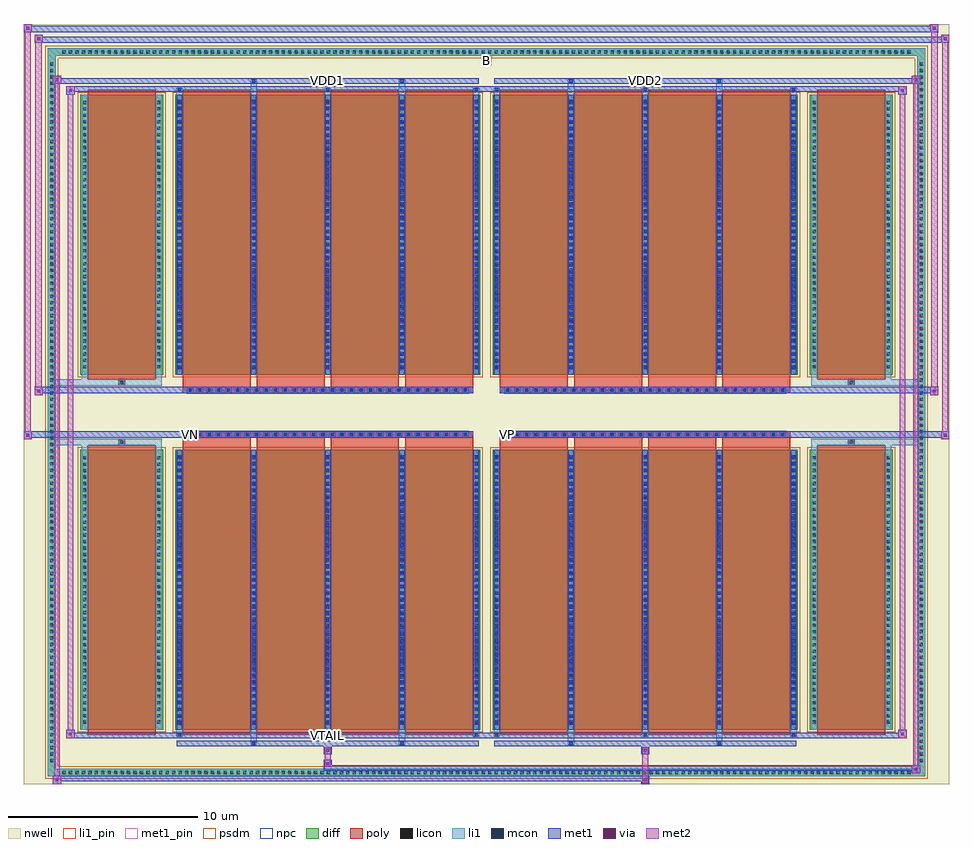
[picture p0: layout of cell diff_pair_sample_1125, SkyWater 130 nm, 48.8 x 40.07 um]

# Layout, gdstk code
import gdstk
lib = gdstk.Library(unit=1e-6, precision=5e-09)
def R(c, l, rs):  # rectangles x0, y0, x1, y1
    for r in rs: c.add(gdstk.rectangle(r[:2], r[2:], *l))
def A(c, l, x, y, w, h, nx, ny, dx, dy):  # array of equal rectangles
    R(c, l, [(x+i*dx, y+j*dy, x+i*dx+w, y+j*dy+h) for i in range(nx) for j in range(ny)])
def P(c, l, *ps):  # polygons
    for p in ps: c.add(gdstk.Polygon(p, *l))
nwell = (64, 20)
diff = (65, 20)
poly = (66, 20)
licon = (66, 44)
li1_pin = (67, 16)
li1 = (67, 20)
mcon = (67, 44)
met1_pin = (68, 16)
met1 = (68, 20)
via = (68, 44)
met2 = (69, 20)
psdm = (94, 20)
npc = (95, 20)

diff_pair_sample_1125 = lib.new_cell('diff_pair_sample_1125')
R(diff_pair_sample_1125, nwell, [(-24.4,-19.6,24.4,20.47), (-21.72,-17.79,-0.01,-0.805), (0.01,-17.79,21.72,-0.805), (-21.72,0.805,-0.01,17.79), (0.01,0.805,21.72,17.79)])
A(diff_pair_sample_1125, diff, -22.475, -19.2, 0.41, 0.41, 132, 2, 0.34, 37.99)
A(diff_pair_sample_1125, diff, -23.13, -18.565, 0.41, 0.41, 1, 109, 0, 0.34)
A(diff_pair_sample_1125, diff, 22.72, -18.565, 0.41, 0.41, 1, 109, 0, 0.34)
R(diff_pair_sample_1125, diff, [(-22.475,-19.2,22.475,-18.79), (-23.13,-18.565,-22.72,18.565), (22.72,-18.565,23.13,18.565), (-21.41,-16.745,-17.05,-1.985), (-16.41,-16.745,-0.32,-1.985), (0.32,-16.745,16.41,-1.985), (17.05,-16.745,21.41,-1.985), (-21.41,1.985,-17.05,16.745), (-16.41,1.985,-0.32,16.745), (0.32,1.985,16.41,16.745), (17.05,1.985,21.41,16.745), (-22.475,18.79,22.475,19.2)])
P(diff_pair_sample_1125, diff, [(23.13,19.2),(-23.13,19.2),(-23.13,-18.79),(-22.72,-18.79),(-22.72,18.79),(22.72,18.79),(22.72,-18.79),(-22.72,-18.79),(-23.13,-18.79),(-23.13,-19.2),(23.13,-19.2)])
A(diff_pair_sample_1125, poly, -16.02, -16.995, 3.58, 15.26, 4, 2, 3.91, 18.73)
A(diff_pair_sample_1125, poly, 0.71, -16.995, 3.58, 15.26, 4, 2, 3.91, 18.73)
A(diff_pair_sample_1125, poly, -16.02, -1.735, 3.58, 0.4, 4, 2, 3.91, 3.07)
A(diff_pair_sample_1125, poly, 0.71, -1.735, 3.58, 0.4, 4, 2, 3.91, 3.07)
A(diff_pair_sample_1125, poly, -15.78, -1.335, 0.33, 0.33, 30, 2, 0.5, 2.34)
A(diff_pair_sample_1125, poly, 0.95, -1.335, 0.33, 0.33, 30, 2, 0.5, 2.34)
R(diff_pair_sample_1125, poly, [(-21.02,-16.995,-17.44,-1.735), (17.44,-16.995,21.02,-1.735), (-19.395,-1.735,-19.065,-1.405), (-19.395,-1.735,-19.065,-1.405), (19.065,-1.735,19.395,-1.405), (19.065,-1.735,19.395,-1.405), (-16.02,-1.335,-0.71,-1.005), (0.71,-1.335,16.02,-1.005), (-16.02,1.005,-0.71,1.335), (0.71,1.005,16.02,1.335), (-19.395,1.405,-19.065,1.735), (-19.395,1.405,-19.065,1.735), (19.065,1.405,19.395,1.735), (19.065,1.405,19.395,1.735), (-21.02,1.735,-17.44,16.995), (17.44,1.735,21.02,16.995)])
A(diff_pair_sample_1125, licon, -22.355, -19.08, 0.17, 0.17, 132, 2, 0.34, 37.99)
A(diff_pair_sample_1125, licon, -23.01, -18.445, 0.17, 0.17, 1, 109, 0, 0.34)
A(diff_pair_sample_1125, licon, 22.84, -18.445, 0.17, 0.17, 1, 109, 0, 0.34)
A(diff_pair_sample_1125, licon, -21.27, -16.42, 0.17, 0.17, 1, 42, 0, 0.34)
A(diff_pair_sample_1125, licon, -17.36, -16.42, 0.17, 0.17, 1, 42, 0, 0.34)
A(diff_pair_sample_1125, licon, -16.27, -16.42, 0.17, 0.17, 5, 42, 3.91, 0.34)
A(diff_pair_sample_1125, licon, 0.46, -16.42, 0.17, 0.17, 5, 42, 3.91, 0.34)
A(diff_pair_sample_1125, licon, 17.19, -16.42, 0.17, 0.17, 1, 42, 0, 0.34)
A(diff_pair_sample_1125, licon, 21.1, -16.42, 0.17, 0.17, 1, 42, 0, 0.34)
A(diff_pair_sample_1125, licon, -15.7, -1.255, 0.17, 0.17, 30, 2, 0.5, 2.34)
A(diff_pair_sample_1125, licon, 1.03, -1.255, 0.17, 0.17, 30, 2, 0.5, 2.34)
A(diff_pair_sample_1125, licon, -21.27, 2.31, 0.17, 0.17, 1, 42, 0, 0.34)
A(diff_pair_sample_1125, licon, -17.36, 2.31, 0.17, 0.17, 1, 42, 0, 0.34)
A(diff_pair_sample_1125, licon, -16.27, 2.31, 0.17, 0.17, 5, 42, 3.91, 0.34)
A(diff_pair_sample_1125, licon, 0.46, 2.31, 0.17, 0.17, 5, 42, 3.91, 0.34)
A(diff_pair_sample_1125, licon, 17.19, 2.31, 0.17, 0.17, 1, 42, 0, 0.34)
A(diff_pair_sample_1125, licon, 21.1, 2.31, 0.17, 0.17, 1, 42, 0, 0.34)
R(diff_pair_sample_1125, licon, [(-19.315,-1.655,-19.145,-1.485), (19.145,-1.655,19.315,-1.485), (-19.315,1.485,-19.145,1.655), (19.145,1.485,19.315,1.655)])
R(diff_pair_sample_1125, li1_pin, [(-0.25,18.29,0.25,18.79)])
A(diff_pair_sample_1125, li1, -22.435, -19.16, 0.33, 0.33, 132, 2, 0.34, 37.99)
A(diff_pair_sample_1125, li1, -23.09, -18.525, 0.33, 0.33, 1, 109, 0, 0.34)
A(diff_pair_sample_1125, li1, 22.76, -18.525, 0.33, 0.33, 1, 109, 0, 0.34)
A(diff_pair_sample_1125, li1, -16.35, -17.12, 0.33, 0.375, 3, 2, 7.82, 33.865)
A(diff_pair_sample_1125, li1, -16.27, -17.12, 0.17, 0.17, 3, 2, 7.82, 34.07)
A(diff_pair_sample_1125, li1, 0.38, -17.12, 0.33, 0.375, 3, 2, 7.82, 33.865)
A(diff_pair_sample_1125, li1, 0.46, -17.12, 0.17, 0.17, 3, 2, 7.82, 34.07)
A(diff_pair_sample_1125, li1, -16.35, -16.745, 0.33, 14.76, 5, 2, 3.91, 18.73)
A(diff_pair_sample_1125, li1, 0.38, -16.745, 0.33, 14.76, 5, 2, 3.91, 18.73)
A(diff_pair_sample_1125, li1, -21.35, -16.5, 0.33, 0.33, 1, 42, 0, 0.34)
A(diff_pair_sample_1125, li1, -17.44, -16.5, 0.33, 0.33, 1, 42, 0, 0.34)
A(diff_pair_sample_1125, li1, -16.35, -16.5, 0.33, 0.33, 5, 42, 3.91, 0.34)
A(diff_pair_sample_1125, li1, 0.38, -16.5, 0.33, 0.33, 5, 42, 3.91, 0.34)
A(diff_pair_sample_1125, li1, 17.11, -16.5, 0.33, 0.33, 1, 42, 0, 0.34)
A(diff_pair_sample_1125, li1, 21.02, -16.5, 0.33, 0.33, 1, 42, 0, 0.34)
A(diff_pair_sample_1125, li1, -16.27, -16.47, 0.17, 0.17, 5, 40, 3.91, 0.36)
A(diff_pair_sample_1125, li1, -16.27, -16.47, 0.17, 14.21, 5, 2, 3.91, 18.73)
A(diff_pair_sample_1125, li1, 0.46, -16.47, 0.17, 0.17, 5, 40, 3.91, 0.36)
A(diff_pair_sample_1125, li1, 0.46, -16.47, 0.17, 14.21, 5, 2, 3.91, 18.73)
A(diff_pair_sample_1125, li1, -15.78, -1.335, 0.33, 0.33, 30, 2, 0.5, 2.34)
A(diff_pair_sample_1125, li1, 0.95, -1.335, 0.33, 0.33, 30, 2, 0.5, 2.34)
A(diff_pair_sample_1125, li1, -21.35, 2.23, 0.33, 0.33, 1, 42, 0, 0.34)
A(diff_pair_sample_1125, li1, -17.44, 2.23, 0.33, 0.33, 1, 42, 0, 0.34)
A(diff_pair_sample_1125, li1, -16.35, 2.23, 0.33, 0.33, 5, 42, 3.91, 0.34)
A(diff_pair_sample_1125, li1, 0.38, 2.23, 0.33, 0.33, 5, 42, 3.91, 0.34)
A(diff_pair_sample_1125, li1, 17.11, 2.23, 0.33, 0.33, 1, 42, 0, 0.34)
A(diff_pair_sample_1125, li1, 21.02, 2.23, 0.33, 0.33, 1, 42, 0, 0.34)
A(diff_pair_sample_1125, li1, -16.27, 2.26, 0.17, 0.17, 5, 40, 3.91, 0.36)
A(diff_pair_sample_1125, li1, 0.46, 2.26, 0.17, 0.17, 5, 40, 3.91, 0.36)
R(diff_pair_sample_1125, li1, [(-23.13,-19.2,-22.72,-18.79), (-23.13,-19.2,-22.72,-18.79), (-22.72,-19.2,22.72,-18.79), (22.72,-19.2,23.13,-18.79), (22.72,-19.2,23.13,-18.79), (-23.13,-18.79,-22.72,18.79), (22.72,-18.79,23.13,18.79), (-12.44,-17.55,-12.11,-16.745), (-12.36,-17.55,-12.19,-17.38), (-4.62,-17.55,-4.29,-16.745), (-4.54,-17.55,-4.37,-17.38), (4.29,-17.55,4.62,-16.745), (4.37,-17.55,4.54,-17.38), (12.11,-17.55,12.44,-16.745), (12.19,-17.55,12.36,-17.38), (-21.35,-16.745,-21.02,-1.985), (-17.44,-16.745,-17.11,-1.985), (17.11,-16.745,17.44,-1.985), (21.02,-16.745,21.35,-1.985), (-21.35,-1.985,-21.02,-1.405), (-17.44,-1.985,-17.11,-1.405), (17.11,-1.985,17.44,-1.405), (21.02,-1.985,21.35,-1.405), (-23.13,-1.735,-19.395,-1.405), (-21.35,-1.735,-19.395,-1.405), (-19.395,-1.735,-19.065,-1.405), (-19.065,-1.735,-17.11,-1.405), (17.11,-1.735,19.065,-1.405), (19.065,-1.735,19.395,-1.405), (19.065,-1.735,23.13,-1.405), (19.395,-1.735,21.35,-1.405), (-23.13,1.405,-19.395,1.735), (-21.35,1.405,-19.395,1.735), (-21.35,1.405,-21.02,1.985), (-19.395,1.405,-19.065,1.735), (-19.065,1.405,-17.11,1.735), (-17.44,1.405,-17.11,1.985), (17.11,1.405,19.065,1.735), (17.11,1.405,17.44,1.985), (19.065,1.405,19.395,1.735), (19.065,1.405,23.13,1.735), (19.395,1.405,21.35,1.735), (21.02,1.405,21.35,1.985), (-21.35,1.985,-21.02,16.745), (-17.44,1.985,-17.11,16.745), (17.11,1.985,17.44,16.745), (21.02,1.985,21.35,16.745), (-12.44,16.745,-12.11,17.55), (-4.62,16.745,-4.29,17.55), (4.29,16.745,4.62,17.55), (12.11,16.745,12.44,17.55), (-12.36,17.38,-12.19,17.55), (-4.54,17.38,-4.37,17.55), (4.37,17.38,4.54,17.55), (12.19,17.38,12.36,17.55), (-23.13,18.79,-22.72,19.2), (-23.13,18.79,-22.72,19.2), (-22.72,18.79,22.72,19.2), (22.72,18.79,23.13,19.2), (22.72,18.79,23.13,19.2)])
A(diff_pair_sample_1125, mcon, -16.27, -17.12, 0.17, 0.17, 3, 2, 7.82, 34.07)
A(diff_pair_sample_1125, mcon, 0.46, -17.12, 0.17, 0.17, 3, 2, 7.82, 34.07)
A(diff_pair_sample_1125, mcon, -16.27, -16.47, 0.17, 0.17, 5, 40, 3.91, 0.36)
A(diff_pair_sample_1125, mcon, 0.46, -16.47, 0.17, 0.17, 5, 40, 3.91, 0.36)
A(diff_pair_sample_1125, mcon, -15.7, -1.255, 0.17, 0.17, 30, 2, 0.5, 2.34)
A(diff_pair_sample_1125, mcon, 1.03, -1.255, 0.17, 0.17, 30, 2, 0.5, 2.34)
A(diff_pair_sample_1125, mcon, -16.27, 2.26, 0.17, 0.17, 5, 40, 3.91, 0.36)
A(diff_pair_sample_1125, mcon, 0.46, 2.26, 0.17, 0.17, 5, 40, 3.91, 0.36)
R(diff_pair_sample_1125, mcon, [(-12.36,-17.55,-12.19,-17.38), (-4.54,-17.55,-4.37,-17.38), (4.37,-17.55,4.54,-17.38), (12.19,-17.55,12.36,-17.38), (-12.36,17.38,-12.19,17.55), (-4.54,17.38,-4.37,17.55), (4.37,17.38,4.54,17.55), (12.19,17.38,12.36,17.55)])
R(diff_pair_sample_1125, met1_pin, [(-8.5,-17.16,-8.23,-16.89), (-15.75,-1.295,-15.48,-1.025), (0.98,-1.295,1.25,-1.025), (-8.5,17.34,-8.23,17.61), (8.23,17.34,8.5,17.61)])
A(diff_pair_sample_1125, met1, -16.33, -17.18, 0.29, 0.29, 3, 2, 7.82, 34.07)
A(diff_pair_sample_1125, met1, 0.4, -17.18, 0.29, 0.29, 3, 2, 7.82, 34.07)
A(diff_pair_sample_1125, met1, -16.33, -16.745, 0.29, 14.76, 5, 2, 3.91, 18.73)
A(diff_pair_sample_1125, met1, 0.4, -16.745, 0.29, 14.76, 5, 2, 3.91, 18.73)
A(diff_pair_sample_1125, met1, -16.33, -16.53, 0.29, 0.29, 5, 40, 3.91, 0.36)
A(diff_pair_sample_1125, met1, 0.4, -16.53, 0.29, 0.29, 5, 40, 3.91, 0.36)
A(diff_pair_sample_1125, met1, -15.76, -1.315, 0.29, 0.29, 30, 2, 0.5, 2.34)
A(diff_pair_sample_1125, met1, 0.97, -1.315, 0.29, 0.29, 30, 2, 0.5, 2.34)
A(diff_pair_sample_1125, met1, -16.33, 2.2, 0.29, 0.29, 5, 40, 3.91, 0.36)
A(diff_pair_sample_1125, met1, 0.4, 2.2, 0.29, 0.29, 5, 40, 3.91, 0.36)
R(diff_pair_sample_1125, met1, [(-22.86,-19.6,-22.43,-19.17), (8.15,-19.6,8.58,-19.17), (-22.86,-19.46,8.58,-19.17), (22.43,-19.03,22.86,-18.6), (-8.58,-18.89,22.86,-18.6), (-8.58,-18.75,-8.15,-18.32), (-8.58,-18.04,-8.15,-17.61), (8.15,-18.04,8.58,-17.61), (-16.33,-17.61,-0.4,-17.32), (-12.42,-17.61,-12.13,-17.32), (-4.6,-17.61,-4.31,-17.32), (0.4,-17.61,16.33,-17.32), (4.31,-17.61,4.6,-17.32), (12.13,-17.61,12.42,-17.32), (-22.15,-17.18,-21.72,-16.75), (-22.15,-17.18,-16.33,-16.89), (-16.33,-17.18,-0.4,-16.89), (-0.4,-17.18,0.4,-16.89), (0.4,-17.18,16.33,-16.89), (16.33,-17.18,22.15,-16.89), (21.72,-17.18,22.15,-16.75), (-24.4,-1.435,-23.97,-1.005), (23.97,-1.435,24.4,-1.005), (-24.4,-1.335,-0.71,-1.005), (-16.02,-1.335,-0.71,-1.005), (0.71,-1.335,16.02,-1.005), (0.71,-1.335,24.4,-1.005), (-23.83,0.905,-23.4,1.335), (23.4,0.905,23.83,1.335), (-23.83,1.005,-16.02,1.335), (-16.02,1.005,-0.71,1.335), (0.71,1.005,16.02,1.335), (16.02,1.005,23.83,1.335), (-22.15,16.75,-21.72,17.18), (21.72,16.75,22.15,17.18), (-22.15,16.89,-16.33,17.18), (-16.33,16.89,-0.4,17.18), (-0.4,16.89,0.4,17.18), (0.4,16.89,16.33,17.18), (16.33,16.89,22.15,17.18), (-22.86,17.32,-22.43,17.75), (-22.86,17.32,-16.33,17.61), (-16.33,17.32,-0.4,17.61), (-12.42,17.32,-12.13,17.61), (-4.6,17.32,-4.31,17.61), (0.4,17.32,16.33,17.61), (4.31,17.32,4.6,17.61), (12.13,17.32,12.42,17.61), (16.33,17.32,22.86,17.61), (22.43,17.32,22.86,17.75), (-23.83,19.47,-23.4,19.9), (-23.83,19.47,-21.72,19.8), (-21.72,19.47,21.72,19.8), (21.72,19.47,24.4,19.8), (23.97,19.47,24.4,19.9), (-24.4,20.04,-23.97,20.47), (-24.4,20.04,-21.72,20.37), (-21.72,20.04,21.72,20.37), (21.72,20.04,23.83,20.37), (23.4,20.04,23.83,20.47)])
R(diff_pair_sample_1125, via, [(-22.72,-19.46,-22.57,-19.31), (8.29,-19.46,8.44,-19.31), (22.57,-18.89,22.72,-18.74), (-8.44,-18.61,-8.29,-18.46), (-8.44,-17.9,-8.29,-17.75), (8.29,-17.9,8.44,-17.75), (-22.01,-17.04,-21.86,-16.89), (21.86,-17.04,22.01,-16.89), (-24.26,-1.295,-24.11,-1.145), (24.11,-1.295,24.26,-1.145), (-23.69,1.045,-23.54,1.195), (23.54,1.045,23.69,1.195), (-22.01,16.89,-21.86,17.04), (21.86,16.89,22.01,17.04), (-22.72,17.46,-22.57,17.61), (22.57,17.46,22.72,17.61), (-23.69,19.61,-23.54,19.76), (24.11,19.61,24.26,19.76), (-24.26,20.18,-24.11,20.33), (23.54,20.18,23.69,20.33)])
R(diff_pair_sample_1125, met2, [(-22.86,-19.6,-22.43,-19.17), (-22.79,-19.6,-22.5,17.75), (-22.5,-19.6,-22.43,-19.17), (-22.81,-19.55,-22.48,-19.22), (8.2,-19.55,8.53,-19.22), (8.2,-19.22,8.53,-17.99), (22.43,-19.03,22.86,-18.6), (22.5,-19.03,22.79,17.75), (22.79,-19.03,22.86,-18.6), (22.48,-18.98,22.81,-18.65), (-8.53,-18.7,-8.2,-18.37), (-8.53,-18.37,-8.2,-17.99), (-8.53,-17.99,-8.2,-17.66), (8.2,-17.99,8.53,-17.66), (-22.15,-17.18,-21.72,-16.75), (-22.08,-17.18,-21.79,17.18), (-21.79,-17.18,-21.72,-16.75), (21.72,-17.18,22.15,-16.75), (21.79,-17.18,22.08,17.18), (22.08,-17.18,22.15,-16.75), (-22.1,-17.13,-21.77,-16.8), (21.77,-17.13,22.1,-16.8), (-24.4,-1.435,-23.97,-1.005), (-24.35,-1.435,-24.02,20.47), (-24.02,-1.435,-23.97,-1.005), (23.97,-1.435,24.4,-1.005), (24.02,-1.435,24.35,19.9), (24.35,-1.435,24.4,-1.005), (-24.35,-1.385,-24.02,-1.055), (24.02,-1.385,24.35,-1.055), (-23.83,0.905,-23.4,1.335), (-23.78,0.905,-23.45,19.9), (-23.45,0.905,-23.4,1.335), (23.4,0.905,23.83,1.335), (23.45,0.905,23.78,20.47), (23.78,0.905,23.83,1.335), (-23.78,0.955,-23.45,1.285), (23.45,0.955,23.78,1.285), (-22.15,16.75,-21.72,17.18), (-21.79,16.75,-21.72,17.18), (21.72,16.75,22.15,17.18), (22.08,16.75,22.15,17.18), (-22.1,16.8,-21.77,17.13), (21.77,16.8,22.1,17.13), (-22.86,17.32,-22.43,17.75), (-22.5,17.32,-22.43,17.75), (22.43,17.32,22.86,17.75), (22.79,17.32,22.86,17.75), (-22.81,17.37,-22.48,17.7), (22.48,17.37,22.81,17.7), (-23.83,19.47,-23.4,19.9), (-23.45,19.47,-23.4,19.9), (23.97,19.47,24.4,19.9), (24.35,19.47,24.4,19.9), (-23.78,19.52,-23.45,19.85), (24.02,19.52,24.35,19.85), (-24.4,20.04,-23.97,20.47), (-24.02,20.04,-23.97,20.47), (23.4,20.04,23.83,20.47), (23.78,20.04,23.83,20.47), (-24.35,20.09,-24.02,20.42), (23.45,20.09,23.78,20.42)])
R(diff_pair_sample_1125, psdm, [(-21.54,-16.875,-16.92,-1.855), (-16.54,-16.875,-0.19,-1.855), (0.19,-16.875,16.54,-1.855), (16.92,-16.875,21.54,-1.855), (-21.54,1.855,-16.92,16.875), (-16.54,1.855,-0.19,16.875), (0.19,1.855,16.54,16.875), (16.92,1.855,21.54,16.875)])
P(diff_pair_sample_1125, psdm, [(23.26,19.33),(-23.26,19.33),(-23.26,-18.66),(-22.59,-18.66),(-22.59,18.66),(22.59,18.66),(22.59,-18.66),(-22.59,-18.66),(-23.26,-18.66),(-23.26,-19.33),(23.26,-19.33)])
A(diff_pair_sample_1125, npc, -15.8, -1.355, 0.37, 0.37, 30, 2, 0.5, 2.34)
A(diff_pair_sample_1125, npc, 0.93, -1.355, 0.37, 0.37, 30, 2, 0.5, 2.34)
R(diff_pair_sample_1125, npc, [(-19.415,-1.755,-19.045,-1.385), (19.045,-1.755,19.415,-1.385), (-15.8,-1.355,-14.93,-0.985), (-15.8,-1.355,-14.93,-0.985), (-15.3,-1.355,-14.43,-0.985), (-15.3,-1.355,-14.43,-0.985), (-14.8,-1.355,-13.93,-0.985), (-14.8,-1.355,-13.93,-0.985), (-14.3,-1.355,-13.43,-0.985), (-14.3,-1.355,-13.43,-0.985), (-13.8,-1.355,-12.93,-0.985), (-13.8,-1.355,-12.93,-0.985), (-13.3,-1.355,-12.43,-0.985), (-13.3,-1.355,-12.43,-0.985), (-12.8,-1.355,-11.93,-0.985), (-12.8,-1.355,-11.93,-0.985), (-12.3,-1.355,-11.43,-0.985), (-12.3,-1.355,-11.43,-0.985), (-11.8,-1.355,-10.93,-0.985), (-11.8,-1.355,-10.93,-0.985), (-11.3,-1.355,-10.43,-0.985), (-11.3,-1.355,-10.43,-0.985), (-10.8,-1.355,-9.93,-0.985), (-10.8,-1.355,-9.93,-0.985), (-10.3,-1.355,-9.43,-0.985), (-10.3,-1.355,-9.43,-0.985), (-9.8,-1.355,-8.93,-0.985), (-9.8,-1.355,-8.93,-0.985), (-9.3,-1.355,-8.43,-0.985), (-9.3,-1.355,-8.43,-0.985), (-8.8,-1.355,-7.93,-0.985), (-8.8,-1.355,-7.93,-0.985), (-8.3,-1.355,-7.43,-0.985), (-8.3,-1.355,-7.43,-0.985), (-7.8,-1.355,-6.93,-0.985), (-7.8,-1.355,-6.93,-0.985), (-7.3,-1.355,-6.43,-0.985), (-7.3,-1.355,-6.43,-0.985), (-6.8,-1.355,-5.93,-0.985), (-6.8,-1.355,-5.93,-0.985), (-6.3,-1.355,-5.43,-0.985), (-6.3,-1.355,-5.43,-0.985), (-5.8,-1.355,-4.93,-0.985), (-5.8,-1.355,-4.93,-0.985), (-5.3,-1.355,-4.43,-0.985), (-5.3,-1.355,-4.43,-0.985), (-4.8,-1.355,-3.93,-0.985), (-4.8,-1.355,-3.93,-0.985), (-4.3,-1.355,-3.43,-0.985), (-4.3,-1.355,-3.43,-0.985), (-3.8,-1.355,-2.93,-0.985), (-3.8,-1.355,-2.93,-0.985), (-3.3,-1.355,-2.43,-0.985), (-3.3,-1.355,-2.43,-0.985), (-2.8,-1.355,-1.93,-0.985), (-2.8,-1.355,-1.93,-0.985), (-2.3,-1.355,-1.43,-0.985), (-2.3,-1.355,-1.43,-0.985), (-1.8,-1.355,-0.93,-0.985), (-1.8,-1.355,-0.93,-0.985), (0.93,-1.355,1.8,-0.985), (0.93,-1.355,1.8,-0.985), (1.43,-1.355,2.3,-0.985), (1.43,-1.355,2.3,-0.985), (1.93,-1.355,2.8,-0.985), (1.93,-1.355,2.8,-0.985), (2.43,-1.355,3.3,-0.985), (2.43,-1.355,3.3,-0.985), (2.93,-1.355,3.8,-0.985), (2.93,-1.355,3.8,-0.985), (3.43,-1.355,4.3,-0.985), (3.43,-1.355,4.3,-0.985), (3.93,-1.355,4.8,-0.985), (3.93,-1.355,4.8,-0.985), (4.43,-1.355,5.3,-0.985), (4.43,-1.355,5.3,-0.985), (4.93,-1.355,5.8,-0.985), (4.93,-1.355,5.8,-0.985), (5.43,-1.355,6.3,-0.985), (5.43,-1.355,6.3,-0.985), (5.93,-1.355,6.8,-0.985), (5.93,-1.355,6.8,-0.985), (6.43,-1.355,7.3,-0.985), (6.43,-1.355,7.3,-0.985), (6.93,-1.355,7.8,-0.985), (6.93,-1.355,7.8,-0.985), (7.43,-1.355,8.3,-0.985), (7.43,-1.355,8.3,-0.985), (7.93,-1.355,8.8,-0.985), (7.93,-1.355,8.8,-0.985), (8.43,-1.355,9.3,-0.985), (8.43,-1.355,9.3,-0.985), (8.93,-1.355,9.8,-0.985), (8.93,-1.355,9.8,-0.985), (9.43,-1.355,10.3,-0.985), (9.43,-1.355,10.3,-0.985), (9.93,-1.355,10.8,-0.985), (9.93,-1.355,10.8,-0.985), (10.43,-1.355,11.3,-0.985), (10.43,-1.355,11.3,-0.985), (10.93,-1.355,11.8,-0.985), (10.93,-1.355,11.8,-0.985), (11.43,-1.355,12.3,-0.985), (11.43,-1.355,12.3,-0.985), (11.93,-1.355,12.8,-0.985), (11.93,-1.355,12.8,-0.985), (12.43,-1.355,13.3,-0.985), (12.43,-1.355,13.3,-0.985), (12.93,-1.355,13.8,-0.985), (12.93,-1.355,13.8,-0.985), (13.43,-1.355,14.3,-0.985), (13.43,-1.355,14.3,-0.985), (13.93,-1.355,14.8,-0.985), (13.93,-1.355,14.8,-0.985), (14.43,-1.355,15.3,-0.985), (14.43,-1.355,15.3,-0.985), (14.93,-1.355,15.8,-0.985), (14.93,-1.355,15.8,-0.985), (-15.8,0.985,-14.93,1.355), (-15.8,0.985,-14.93,1.355), (-15.3,0.985,-14.43,1.355), (-15.3,0.985,-14.43,1.355), (-14.8,0.985,-13.93,1.355), (-14.8,0.985,-13.93,1.355), (-14.3,0.985,-13.43,1.355), (-14.3,0.985,-13.43,1.355), (-13.8,0.985,-12.93,1.355), (-13.8,0.985,-12.93,1.355), (-13.3,0.985,-12.43,1.355), (-13.3,0.985,-12.43,1.355), (-12.8,0.985,-11.93,1.355), (-12.8,0.985,-11.93,1.355), (-12.3,0.985,-11.43,1.355), (-12.3,0.985,-11.43,1.355), (-11.8,0.985,-10.93,1.355), (-11.8,0.985,-10.93,1.355), (-11.3,0.985,-10.43,1.355), (-11.3,0.985,-10.43,1.355), (-10.8,0.985,-9.93,1.355), (-10.8,0.985,-9.93,1.355), (-10.3,0.985,-9.43,1.355), (-10.3,0.985,-9.43,1.355), (-9.8,0.985,-8.93,1.355), (-9.8,0.985,-8.93,1.355), (-9.3,0.985,-8.43,1.355), (-9.3,0.985,-8.43,1.355), (-8.8,0.985,-7.93,1.355), (-8.8,0.985,-7.93,1.355), (-8.3,0.985,-7.43,1.355), (-8.3,0.985,-7.43,1.355), (-7.8,0.985,-6.93,1.355), (-7.8,0.985,-6.93,1.355), (-7.3,0.985,-6.43,1.355), (-7.3,0.985,-6.43,1.355), (-6.8,0.985,-5.93,1.355), (-6.8,0.985,-5.93,1.355), (-6.3,0.985,-5.43,1.355), (-6.3,0.985,-5.43,1.355), (-5.8,0.985,-4.93,1.355), (-5.8,0.985,-4.93,1.355), (-5.3,0.985,-4.43,1.355), (-5.3,0.985,-4.43,1.355), (-4.8,0.985,-3.93,1.355), (-4.8,0.985,-3.93,1.355), (-4.3,0.985,-3.43,1.355), (-4.3,0.985,-3.43,1.355), (-3.8,0.985,-2.93,1.355), (-3.8,0.985,-2.93,1.355), (-3.3,0.985,-2.43,1.355), (-3.3,0.985,-2.43,1.355), (-2.8,0.985,-1.93,1.355), (-2.8,0.985,-1.93,1.355), (-2.3,0.985,-1.43,1.355), (-2.3,0.985,-1.43,1.355), (-1.8,0.985,-0.93,1.355), (-1.8,0.985,-0.93,1.355), (0.93,0.985,1.8,1.355), (0.93,0.985,1.8,1.355), (1.43,0.985,2.3,1.355), (1.43,0.985,2.3,1.355), (1.93,0.985,2.8,1.355), (1.93,0.985,2.8,1.355), (2.43,0.985,3.3,1.355), (2.43,0.985,3.3,1.355), (2.93,0.985,3.8,1.355), (2.93,0.985,3.8,1.355), (3.43,0.985,4.3,1.355), (3.43,0.985,4.3,1.355), (3.93,0.985,4.8,1.355), (3.93,0.985,4.8,1.355), (4.43,0.985,5.3,1.355), (4.43,0.985,5.3,1.355), (4.93,0.985,5.8,1.355), (4.93,0.985,5.8,1.355), (5.43,0.985,6.3,1.355), (5.43,0.985,6.3,1.355), (5.93,0.985,6.8,1.355), (5.93,0.985,6.8,1.355), (6.43,0.985,7.3,1.355), (6.43,0.985,7.3,1.355), (6.93,0.985,7.8,1.355), (6.93,0.985,7.8,1.355), (7.43,0.985,8.3,1.355), (7.43,0.985,8.3,1.355), (7.93,0.985,8.8,1.355), (7.93,0.985,8.8,1.355), (8.43,0.985,9.3,1.355), (8.43,0.985,9.3,1.355), (8.93,0.985,9.8,1.355), (8.93,0.985,9.8,1.355), (9.43,0.985,10.3,1.355), (9.43,0.985,10.3,1.355), (9.93,0.985,10.8,1.355), (9.93,0.985,10.8,1.355), (10.43,0.985,11.3,1.355), (10.43,0.985,11.3,1.355), (10.93,0.985,11.8,1.355), (10.93,0.985,11.8,1.355), (11.43,0.985,12.3,1.355), (11.43,0.985,12.3,1.355), (11.93,0.985,12.8,1.355), (11.93,0.985,12.8,1.355), (12.43,0.985,13.3,1.355), (12.43,0.985,13.3,1.355), (12.93,0.985,13.8,1.355), (12.93,0.985,13.8,1.355), (13.43,0.985,14.3,1.355), (13.43,0.985,14.3,1.355), (13.93,0.985,14.8,1.355), (13.93,0.985,14.8,1.355), (14.43,0.985,15.3,1.355), (14.43,0.985,15.3,1.355), (14.93,0.985,15.8,1.355), (14.93,0.985,15.8,1.355), (-19.415,1.385,-19.045,1.755), (19.045,1.385,19.415,1.755)])
diff_pair_sample_1125.add(gdstk.Label('VTAIL', (-8.365,-17.025), layer=68, texttype=5))
diff_pair_sample_1125.add(gdstk.Label('VN', (-15.615,-1.16), layer=68, texttype=5))
diff_pair_sample_1125.add(gdstk.Label('VP', (1.115,-1.16), layer=68, texttype=5))
diff_pair_sample_1125.add(gdstk.Label('B', (0,18.54), layer=67, texttype=5))
diff_pair_sample_1125.add(gdstk.Label('VDD2', (8.365,17.475), layer=68, texttype=5))
diff_pair_sample_1125.add(gdstk.Label('VDD1', (-8.365,17.475), layer=68, texttype=5))

lib.write_gds('diff_pair_sample_1125.gds')
